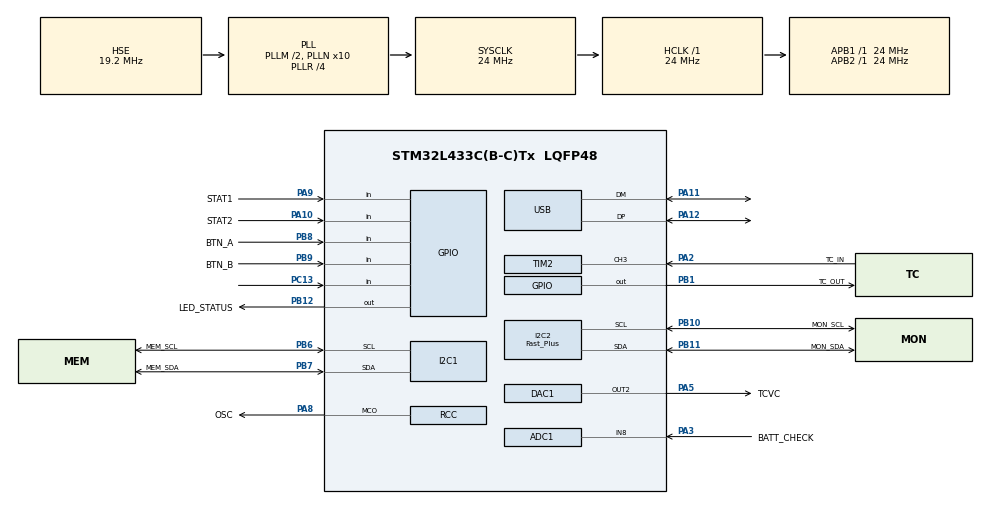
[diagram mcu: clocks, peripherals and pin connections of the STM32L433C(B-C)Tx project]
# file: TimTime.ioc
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ADC1.Channel-0\#ChannelRegularConversion=ADC_CHANNEL_8
ADC1.NbrOfConversionFlag=1
ADC1.OffsetNumber-0\#ChannelRegularConversion=ADC_OFFSET_NONE
ADC1.Rank-0\#ChannelRegularConversion=1
ADC1.SamplingTime-0\#ChannelRegularConversion=ADC_SAMPLETIME_2CYCLES_5
ADC1.master=1
DAC1.DAC_Channel-DAC_OUT2=DAC_CHANNEL_2
I2C1.Timing=0x00506682
I2C2.I2C_Speed_Mode=I2C_Fast_Plus
I2C2.Timing=0x0010030D
Mcu.Family=STM32L4
Mcu.Name=STM32L433C(B-C)Tx
Mcu.Package=LQFP48
NVIC.PriorityGroup=NVIC_PRIORITYGROUP_4
NVIC.TIM1_UP_TIM16_IRQn=true\:7\:0\:true\:false\:true\:true\:true\:true
NVIC.TIM2_IRQn=true\:2\:0\:true\:false\:true\:true\:true\:true
NVIC.TIM6_DAC_IRQn=true\:8\:0\:true\:false\:true\:true\:true\:true
NVIC.TIM7_IRQn=true\:0\:0\:false\:false\:true\:true\:true\:true
PA0.Mode=SYS_WakeUp0
PA0.Signal=SYS_WKUP1
PA10.GPIO_Label=STAT2
PA10.Signal=GPIO_Input
PA11.Mode=Device
PA11.Signal=USB_DM
PA12.Mode=Device
PA12.Signal=USB_DP
PA13\ (JTMS-SWDIO).Mode=Serial_Wire
PA13\ (JTMS-SWDIO).Signal=SYS_JTMS-SWDIO
PA14\ (JTCK-SWCLK).Mode=Serial_Wire
PA14\ (JTCK-SWCLK).Signal=SYS_JTCK-SWCLK
PA2.GPIO_Label=TC_IN
PA2.Signal=S_TIM2_CH3
PA3.GPIO_Label=BATT_CHECK
PA3.Signal=ADCx_IN8
PA5.GPIO_Label=TCVC
PA5.Signal=COMP_DAC12_group
PA8.GPIO_Label=OSC
PA8.Mode=Clock-out
PA8.Signal=RCC_MCO
PA9.GPIO_Label=STAT1
PA9.Signal=GPIO_Input
PB1.GPIO_Label=TC_OUT
PB1.Signal=GPIO_Output
PB10.GPIO_Label=MON_SCL
PB10.GPIO_Pu=GPIO_PULLUP
PB10.Mode=I2C
PB10.Signal=I2C2_SCL
PB11.GPIO_Label=MON_SDA
PB11.GPIO_Pu=GPIO_PULLUP
PB11.Mode=I2C
PB11.Signal=I2C2_SDA
PB12.GPIO_Label=LED_STATUS
PB12.Signal=GPIO_Output
PB6.GPIO_Label=MEM_SCL
PB6.GPIO_Pu=GPIO_PULLUP
PB6.Mode=I2C
PB6.Signal=I2C1_SCL
PB7.GPIO_Label=MEM_SDA
PB7.GPIO_Pu=GPIO_PULLUP
PB7.Mode=I2C
PB7.Signal=I2C1_SDA
PB8.GPIO_Label=BTN_A
PB8.Signal=GPIO_Input
PB9.GPIO_Label=BTN_B
PB9.Signal=GPIO_Input
PC13.Signal=GPIO_Input
PH0-OSC_IN\ (PH0).Mode=HSE-External-Clock-Source
PH0-OSC_IN\ (PH0).Signal=RCC_OSC_IN
ProjectManager.HeapSize=0x200
ProjectManager.StackSize=0x400
ProjectManager.TargetToolchain=STM32CubeIDE
RCC.ADCFreq_Value=48000000
RCC.AHBFreq_Value=24000000
RCC.APB1Freq_Value=24000000
RCC.APB1TimFreq_Value=24000000
RCC.APB2Freq_Value=24000000
RCC.APB2TimFreq_Value=24000000
RCC.CortexFreq_Value=24000000
RCC.HCLKFreq_Value=24000000
RCC.HSE_VALUE=19200000
RCC.HSI48_VALUE=48000000
RCC.HSI_VALUE=16000000
RCC.LSE_VALUE=32768
RCC.MSI_VALUE=4000000
RCC.PLLM=2
RCC.PLLN=10
RCC.PLLR=RCC_PLLR_DIV4
RCC.PLLSAI1N=10
RCC.PLLSourceVirtual=RCC_PLLSOURCE_HSE
RCC.SYSCLKFreq_VALUE=24000000
RCC.SYSCLKSource=RCC_SYSCLKSOURCE_PLLCLK
RCC.USBFreq_Value=48000000
RCC.VCOOutputFreq_Value=96000000
SH.ADCx_IN8.0=ADC1_IN8,IN8-Single-Ended
SH.COMP_DAC12_group.0=DAC1_OUT2,DAC_OUT2
SH.S_TIM2_CH3.0=TIM2_CH3,Input_Capture3_from_TI3
TIM16.Period=3128-1
TIM16.Prescaler=4-1
TIM2.Channel-Input_Capture3_from_TI3=TIM_CHANNEL_3
TIM2.ICPolarity_CH3=TIM_INPUTCHANNELPOLARITY_BOTHEDGE
TIM2.Prescaler=24-1
TIM6.Period=1000-1
TIM6.Prescaler=24-1
TIM7.Period=50049
TIM7.Prescaler=19
VP_TIM16_VS_ClockSourceINT.Mode=Enable_Timer
VP_TIM6_VS_ClockSourceINT.Mode=Enable_Timer
VP_TIM7_VS_ClockSourceINT.Mode=Enable_Timer
board=custom

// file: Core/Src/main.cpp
/* USER CODE BEGIN Header */
/**
  ******************************************************************************
  * @file           : main.c
  * @brief          : Main program body
  ******************************************************************************
  * @attention
  *
  * <h2><center>&copy; Copyright (c) 2021 STMicroelectronics.
  * All rights reserved.</center></h2>
  *
  * This software component is licensed by ST under BSD 3-Clause license,
  * the "License"; You may not use this file except in compliance with the
  * License. You may obtain a copy of the License at:
  *                        opensource.org/licenses/BSD-3-Clause
  *
  ******************************************************************************
  */
/* USER CODE END Header */
#include "main.h"

/* USER CODE BEGIN Includes */

#include "Global.h"
#include "Timecode.h"
#include "Menu.h"
#include "Display.h"
#include "Battery.h"
#include "Calibration.h"
#define EEPROM_ADDRESS	0xA0
/* USER CODE END Includes */

ADC_HandleTypeDef hadc1;

DAC_HandleTypeDef hdac1;

I2C_HandleTypeDef hi2c1;
I2C_HandleTypeDef hi2c2;

TIM_HandleTypeDef htim2;
TIM_HandleTypeDef htim6;
TIM_HandleTypeDef htim7;
TIM_HandleTypeDef htim16;

PCD_HandleTypeDef hpcd_USB_FS;

/* USER CODE BEGIN PV */
//void setDigit(int addr, int digit, uint8_t value, bool dp);
//void spiTransfer(int addr, volatile uint8_t opcode, volatile uint8_t data);
//void transposeData(int addr);
void shiftRight(uint8_t theArray[], uint8_t theArraySize);
void initTimecode();
void clearBuffer(uint8_t theArray[], uint8_t theArraySize);
void writeTimecode();
bool readEEPROM();
bool updateEEPROM();

//void updateDisplay(bool on);
//void calibrate();
//void JumpToBootloader(void);
//void updateDisplay(uint8_t state);

//void write_eeprom_reg(uint16_t reg_addr, uint8_t value);
//uint8_t  read_eeprom_reg(uint16_t addr);
/* USER CODE END PV */

void SystemClock_Config(void);
static void MX_GPIO_Init(void);
static void MX_ADC1_Init(void);
static void MX_DAC1_Init(void);
static void MX_I2C1_Init(void);
static void MX_I2C2_Init(void);
static void MX_TIM2_Init(void);
static void MX_TIM6_Init(void);
static void MX_TIM7_Init(void);
static void MX_TIM16_Init(void);
static void MX_USB_PCD_Init(void);

/* USER CODE BEGIN 0 */

ADC_HandleTypeDef *battADC = &hadc1;
I2C_HandleTypeDef *dispI2C = &hi2c2;
I2C_HandleTypeDef *memI2C=  &hi2c1;
TIM_HandleTypeDef *inTIM = &htim2;
TIM_HandleTypeDef *outTIM = &htim16;
TIM_HandleTypeDef *countTIM = &htim7;

//int Offset, hr, mn, sc, fr,setA,setB;
//volatile uint32_t clockFrame = 0;
uint32_t clockFrameOutput = 0;
uint8_t tc[10] = {0}; // ISR Buffer to store incoming bits
//uint32_t clockFramePrevious = 0;
volatile uint8_t jamCount = 0;

bool anodeMode = true;

const uint16_t sync = 0xBFFC; // Sync word to expect when running tape forward

enum flagBits {
  tcValid,        // TC copied to xtc is valid (Used by main loop to determing if a timecode has arrived)
  tcFrameError,   // ISR edge out of timing bounds (only gets reset after next valid TC read)
  tcOverrun,      // TC was not read from xtc by main loop before next value was ready (so main loop can tell if timecodes have been lost)
  tcForceUpdate,  // Valid TC will always be copied to buffer even if last value not read (if set by main code then TC will always be copied)
  tcHalfOne       // ISR is reading a 1 bit so ignore next edge (Internal to ISR)
};

volatile uint8_t tcFlags = 0;                             // Various flags used by ISR and main code
uint32_t uSeconds;                                        // ISR store of last edge change time

char timeCode[12];                                        // For example code another buffer to write decoded timecode
//char userBits[12];
volatile bool tcTimer = true;
volatile uint32_t edgeTimeDiff;
uint8_t tcWrite[10];
uint8_t tcWriteBuf[10];

//char tcDisplay[11];
char dispOffset[3];
//uint32_t buttonTime;

int prevOffset;

bool fullBit = false;
bool halfBit = false;
uint8_t writeState = 0x0;
int byteNumber = 0;
int bitNumber = 0;
uint8_t tcBuf;
bool endBit = false;

uint16_t batt;
uint16_t battAvg[32];
uint8_t battLoc = 0;
uint32_t battCount;
uint32_t powerCount;
uint32_t menuCount;
float battStatus;
char battDisp[5];
int battPrint;

//bool stat1;
//bool stat2;

uint8_t ledCount = 0;
volatile bool blink = false;

volatile uint16_t compensationCounter = 0;
volatile bool compensate = false;

uint8_t displayLoopCounter = 0;
uint32_t displayTimer;
uint32_t lockTimer;
bool isLocked = false;
bool displayOn = true;

bool powerOff = false;

uint8_t powerUpMode = 0;

bool calWrite = true;
bool calRead = true;
bool updateWrite = true;

//Lockit Prototype #2
//const uint32_t calibrationAInterval = 240000;
//int32_t calibrationA;
//const uint32_t calibration = 23999963;
//const uint32_t calibration = 23999979; //timtime1

//int32_t calibrationArray[6];
//calibrationArray[frameRate]

//const uint32_t calibrationInterval[6] = {240000,240000,250000,300000,300000,300000};
//calibrationInterval[frameRate]

/*
 * Lockit Prototype #1
 * const uint16_t calibrationAInterval = 24000;
 * const uint8_t calibrationBInterval = 50;
 * const uint8_t calibrationA = -860;
 * const uint8_t calibrationB = -43;
 */

/*
 * 0 = 23.976
 * 1 = 24
 * 2 = 25
 * 3 = 29.97
 * 4 = 30
 */
//uint8_t frRDv[6] = {24,24,25,30,30,30};	//Frame rate divisor array
//frRDv[frameRate]
//const uint16_t frARR[6] = {50049,49999,47999,40039,40039,39999};	//Frame rate Timer ARR
//frARR[frameRate]

//uint8_t lockCountdown = 0;
char powerDisplay;
char lockDisplay;
void mcStop();

bool upButton;
uint32_t upButtonTime;

bool downButton;
uint32_t downButtonTime;

bool menuButton;
uint32_t menuButtonTime;

uint32_t batteryCheck;
bool wakeUP;

/* USER CODE END 0 */

int main(void)
{

  /* MCU Configuration--------------------------------------------------------*/

  /* Reset of all peripherals, Initializes the Flash interface and the Systick. */
  HAL_Init();

  /* Configure the system clock */
  SystemClock_Config();

  /* Initialize all configured peripherals */
  MX_GPIO_Init();
  MX_ADC1_Init();
  MX_DAC1_Init();
  MX_I2C1_Init();
  MX_I2C2_Init();
  MX_TIM2_Init();
  MX_TIM6_Init();
  MX_TIM7_Init();
  MX_TIM16_Init();
  MX_USB_PCD_Init();
  /* USER CODE BEGIN 2 */
  DAC1->DHR12R2 = 2048; //Set analog out for TXCO VCO

  /*Configure GPIO pin : PC13 */
  GPIO_InitTypeDef GPIO_InitStruct = {0};
  GPIO_InitStruct.Pin = GPIO_PIN_0;
  GPIO_InitStruct.Mode = GPIO_MODE_INPUT;
  GPIO_InitStruct.Pull = GPIO_PULLDOWN;
  HAL_GPIO_Init(GPIOA, &GPIO_InitStruct);

/*if(GPIOA -> IDR & GPIO_PIN_9 || GPIOA -> IDR & GPIO_PIN_10){  //Stat 1 & 2
  powerUpMode = 2;
}*/
wakeUP = false;
wakeUP = __HAL_PWR_GET_FLAG(PWR_FLAG_SB);
clockFrame++;

if (!wakeUP){
  powerUpMode = 1;
  GPIOB -> ODR |= GPIO_PIN_12;    //LED
  HAL_Delay(500);
}
if(GPIOA -> IDR & GPIO_PIN_0){  //Power button
  uint32_t powerupTime = HAL_GetTick();
  while (GPIOA -> IDR & GPIO_PIN_0){
    if (HAL_GetTick() - powerupTime > 2000){
      powerUpMode = 1;
      GPIOB -> ODR |= GPIO_PIN_12;    //LED
      __HAL_PWR_CLEAR_FLAG(PWR_FLAG_SB);
    }
  }
}

else {}
//do nothing

if (powerUpMode == 0){    //Power button not held long enough
HAL_Delay(500);

    HAL_PWR_EnterSTANDBYMode();
}

else if (powerUpMode == 2){
  //Run battery charge
  //In battery charge, continuously check power button
}

else {

}

HAL_Delay(20);
calRead = readEEPROM();
HAL_Delay(10);

//
    //LED
  //HAL_Delay(1000);
 // GPIOB -> ODR &= ~GPIO_PIN_12;  //LED
  //HAL_Delay(1000);
  //GPIOB -> ODR |= GPIO_PIN_12;  //LED
 // HAL_Delay(1000);

  //GPIOA -> ODR |= GPIO_PIN_8; //Power enable
     //Input timer
  //HAL_TIM_Base_Start(&htim7);
  //HAL_TIM_Base_Start_IT(&htim16);
  //HAL_TIM_Base_Start_IT(&htim6);
  tcWrite[8] = 0b11111100;  //Sync pattern
  tcWrite[9] = 0b10111111;  //Sync pattern

initDisplay();

if (GPIOB -> IDR & GPIO_PIN_8 && GPIOB -> IDR & GPIO_PIN_9){
  //Run Calibration menu
  calibrationMenu();
  calMenu = true;
}
if (!calRead && !calMenu){
  calReadFail();
}
calibrate();
HAL_TIM_IC_Start_IT(&htim2, TIM_CHANNEL_3); //Input timer
updateDisplay(0x0);
updateDisplay(0x1);
 displayTimer = HAL_GetTick();
 batteryCheck = HAL_GetTick();
 batteryRead();
 batteryCheck = batteryCheck - 29900;
batteryRead();
  //HAL_Delay(3000);

     /* Clear the WU FLAG */
  //__HAL_PWR_CLEAR_FLAG(PWR_FLAG_WU);

  //HAL_PWR_EnableWakeUpPin(PWR_WAKEUP_PIN1);
  //HAL_PWR_EnterSTANDBYMode();

//HAL_Delay(1);
//clockFrame++;
//HAL_TIM_Base_Start_IT(&htim7);		//Start the output timer
//HAL_TIM_Base_Start_IT(&htim16);
  /* USER CODE END 2 */

  /* Infinite loop */
  /* USER CODE BEGIN WHILE */
  while (1)
  {
    //JumpToBootloader();

    /* TODO
    * Only update display every 4th cycle?
    * Run tests on optimal update range
    * Timecode output is top priority
    *
    */
if (HAL_GetTick() - batteryCheck > 30000){
  batteryCheck = HAL_GetTick();
  batteryRead();
}
   if (!isLocked && displayOn){
     if (HAL_GetTick() - displayTimer > 10000){
       isLocked = true;
       displayOn = false;
       updateDisplay(0x0);
     }
     if (displayLoopCounter == 120){
      updateDisplay(0x1);
      displayLoopCounter = 0;
    }
   }

   if (isLocked && displayOn){
     if (HAL_GetTick() - displayTimer > 5000){
       displayOn = false;
       updateDisplay(0x0);
     }
     if (displayLoopCounter == 120){
      //updateDisplay(0x3);
      updateDisplay(d_lock);
      displayLoopCounter = 0;
    }
   }
   //Add in code to turn on display with button press?

  displayLoopCounter++;
frameCheck();
	  stat1 = GPIOA -> IDR & GPIO_PIN_9;
    stat2 = GPIOA -> IDR & GPIO_PIN_10;
	    //PA4 STat2
	    //PA5 Stat1
    //if (clockFrame == 2073600) clockFrame = 0;
    clockFrameOutput = clockFrame + 1;
	    tcWrite[0] = ((clockFrameOutput % frameRateDivisor[frameRate]) % 10);
	    tcWrite[0] |= (userBits[7] << 4);

	    tcWrite[1] = (clockFrameOutput % frameRateDivisor[frameRate]) / 10;
	    tcWrite[1] |= (userBits[6] << 4);

	    tcWrite[2] = ((clockFrameOutput / frameRateDivisor[frameRate]) % 60) % 10;
	    tcWrite[2] |= (userBits[5] << 4);

	    tcWrite[3] = ((clockFrameOutput / frameRateDivisor[frameRate]) % 60) / 10;
	    tcWrite[3] |= (userBits[4] << 4);

	    tcWrite[4] = ((clockFrameOutput / (frameRateDivisor[frameRate] * 60)) % 60) % 10;
	    tcWrite[4] |= (userBits[3] << 4);

	    tcWrite[5] = ((clockFrameOutput / (frameRateDivisor[frameRate] * 60)) % 60) / 10;
	    tcWrite[5] |= (userBits[2] << 4);

	    tcWrite[6] = (clockFrameOutput / (frameRateDivisor[frameRate] * 60 * 60)) % 10;
	    tcWrite[6] |= (userBits[1] << 4);

	    tcWrite[7] = (clockFrameOutput / (frameRateDivisor[frameRate] * 60 * 60)) / 10;
	    tcWrite[7] |= (userBits[0] << 4);

	    hr = (clockFrameOutput / frameRateDivisor[frameRate]) / 3600;
		mn = ((clockFrameOutput / frameRateDivisor[frameRate]) / 60 ) % 60;
		sc = (clockFrameOutput / frameRateDivisor[frameRate]) % 60;
		fr = clockFrameOutput % frameRateDivisor[frameRate];

	    //Determining the correct one bits to ensure
      //The wave is proper
      int oneBits = 0;
	    for (int i=0; i<10; i++){
	    	for (int b=0; b<8; b++){
	    		if (bitRead(tcWrite[i],b) == 1){
	    			oneBits++;
	    		}
	    	}
	    }
	    if (oneBits % 2 > 0){
	    	((tcWrite[7]) |= (1UL << (3)));
	    } else {
	    	((tcWrite[7]) &= ~(1UL << (3)));
	    }

//button handlers
if(GPIOC -> IDR & GPIO_PIN_13){	//Menu button
//TODO Block entering menu when locked
/*displayTimer = HAL_GetTick();
	    	uint32_t menuCount = HAL_GetTick();
	    	//HAL_GPIO_TogglePin(GPIOB, GPIO_PIN_6);
	    	if (!isLocked){
	    	while (GPIOC -> IDR & GPIO_PIN_13){
	    		if (HAL_GetTick() - menuCount > 500){
	    			menuItem = 0;
	    			//inMenu = true;
	    			menuItemSelect = false;
					//menuEnter = true;
					updateDisplay(d_menu);
	    			menuLoop();
            displayTimer = HAL_GetTick();
            while (GPIOC -> IDR & GPIO_PIN_13)
              {updateDisplay(0x1);}//add in TC process?}
					//menuEnter = false;
	    		}
	    			updateDisplay(0x01);
	    	}
    }
    else {
      displayTimer = HAL_GetTick();
displayOn = true;
    }*/
    displayTimer = HAL_GetTick();
displayOn = true;
menuButton = true;
if(HAL_GetTick() - menuButtonTime > 1000 && !isLocked){
  menuItem = 0;
  menuItemSelect = false;
  updateDisplay(d_menu);
  menuLoop();
  //updateDisplay(d_userBits);
  //userBitMenu();
  updateWrite = updateEEPROM();
  displayTimer = HAL_GetTick();
  updateDisplay(0x1);
  menuButtonTime = HAL_GetTick();

}
	    }
      else {
        menuButton = false;
        menuButtonTime = HAL_GetTick();
      }

if(GPIOB -> IDR & GPIO_PIN_8){	//Up button
displayTimer = HAL_GetTick();
displayOn = true;
upButton = true;
if (HAL_GetTick() - upButtonTime > 2000){
  //User Bits
}

	    }
      else {
        upButton = false;
        upButtonTime = HAL_GetTick();
      }
if(GPIOB -> IDR & GPIO_PIN_9){	//Down button
displayTimer = HAL_GetTick();
displayOn = true;

	    }
      else{
        downButton = false;
        downButtonTime = HAL_GetTick();
      }

if(GPIOA -> IDR & GPIO_PIN_0){  //Power button
  if (!isLocked){
  updateDisplay(0x4);
  uint32_t currentTime = HAL_GetTick();
  while (GPIOA -> IDR & GPIO_PIN_0){
    powerCountdown =3 - ((HAL_GetTick() - currentTime)/1000);
    if (!powerOff){updateDisplay(0x4);}
    if (HAL_GetTick() - currentTime > 4000){
      HAL_PWR_EnableWakeUpPin(PWR_WAKEUP_PIN1);
      powerOff = true;
      updateDisplay(0x0);
       /* Clear the WU FLAG */
  //__HAL_PWR_CLEAR_FLAG(PWR_FLAG_WU);

    }
  }
}

}
if(powerOff){
    //updateDisplay(0x0);
    HAL_Delay(2000);
    __HAL_PWR_CLEAR_FLAG(PWR_FLAG_WU);
    HAL_PWR_EnterSTANDBYMode();
    powerUpMode = 0;

}

if(isLocked && GPIOB -> IDR & GPIO_PIN_9 && GPIOB -> IDR & GPIO_PIN_8){//Both
  if (!upButton && !downButton){

  }
  upButton = true;
  downButton = true;
  buttonsHeld = true;
  /*
	    	while (isLocked && GPIOB -> IDR & GPIO_PIN_9 && GPIOB -> IDR & GPIO_PIN_8){
	    		updateDisplay(0x03);
          buttonsHeld = true;
	    		lockCountdown = 3 - ((HAL_GetTick() - lockTimer)/1000);
	    		if (HAL_GetTick()-lockTimer > 3000){
	    			isLocked = false;
	    			displayTimer = HAL_GetTick();
            buttonsHeld = false;

					uptimeMinutes = 0;
          updateDisplay(0x0);
	    		}
	    	}
         buttonsHeld = false;
	    	while (!isLocked && (GPIOB -> IDR & GPIO_PIN_9 || GPIOB -> IDR & GPIO_PIN_8)){
	    		updateDisplay(0x01);
	    		displayTimer = HAL_GetTick();
	    	}*/
        lockCountdown = 3 - ((HAL_GetTick() - lockTimer)/1000);
        updateDisplay(0x03);
        if(HAL_GetTick() - upButtonTime > 3000 && HAL_GetTick() - downButtonTime > 3000){
          isLocked = false;
	    			displayTimer = HAL_GetTick();
            buttonsHeld = false;
            uptimeMinutes = 0;
          updateDisplay(0x0);
        }

}
else {
  buttonsHeld = false;
  lockTimer = HAL_GetTick();
}

    /* USER CODE END WHILE */

  }
}

void SystemClock_Config(void)
{
  RCC_OscInitTypeDef RCC_OscInitStruct = {0};
  RCC_ClkInitTypeDef RCC_ClkInitStruct = {0};
  RCC_PeriphCLKInitTypeDef PeriphClkInit = {0};

  /** Initializes the RCC Oscillators according to the specified parameters
  * in the RCC_OscInitTypeDef structure.
  */
  RCC_OscInitStruct.OscillatorType = RCC_OSCILLATORTYPE_HSE;
  RCC_OscInitStruct.HSEState = RCC_HSE_BYPASS;
  RCC_OscInitStruct.PLL.PLLState = RCC_PLL_ON;
  RCC_OscInitStruct.PLL.PLLSource = RCC_PLLSOURCE_HSE;
  RCC_OscInitStruct.PLL.PLLM = 2;
  RCC_OscInitStruct.PLL.PLLN = 10;
  RCC_OscInitStruct.PLL.PLLP = RCC_PLLP_DIV7;
  RCC_OscInitStruct.PLL.PLLQ = RCC_PLLQ_DIV2;
  RCC_OscInitStruct.PLL.PLLR = RCC_PLLR_DIV4;
  if (HAL_RCC_OscConfig(&RCC_OscInitStruct) != HAL_OK)
  {
    Error_Handler();
  }
  /** Initializes the CPU, AHB and APB buses clocks
  */
  RCC_ClkInitStruct.ClockType = RCC_CLOCKTYPE_HCLK|RCC_CLOCKTYPE_SYSCLK
                              |RCC_CLOCKTYPE_PCLK1|RCC_CLOCKTYPE_PCLK2;
  RCC_ClkInitStruct.SYSCLKSource = RCC_SYSCLKSOURCE_PLLCLK;
  RCC_ClkInitStruct.AHBCLKDivider = RCC_SYSCLK_DIV1;
  RCC_ClkInitStruct.APB1CLKDivider = RCC_HCLK_DIV1;
  RCC_ClkInitStruct.APB2CLKDivider = RCC_HCLK_DIV1;

  if (HAL_RCC_ClockConfig(&RCC_ClkInitStruct, FLASH_LATENCY_1) != HAL_OK)
  {
    Error_Handler();
  }
  PeriphClkInit.PeriphClockSelection = RCC_PERIPHCLK_I2C1|RCC_PERIPHCLK_I2C2
                              |RCC_PERIPHCLK_USB|RCC_PERIPHCLK_ADC;
  PeriphClkInit.I2c1ClockSelection = RCC_I2C1CLKSOURCE_PCLK1;
  PeriphClkInit.I2c2ClockSelection = RCC_I2C2CLKSOURCE_PCLK1;
  PeriphClkInit.AdcClockSelection = RCC_ADCCLKSOURCE_PLLSAI1;
  PeriphClkInit.UsbClockSelection = RCC_USBCLKSOURCE_PLLSAI1;
  PeriphClkInit.PLLSAI1.PLLSAI1Source = RCC_PLLSOURCE_HSE;
  PeriphClkInit.PLLSAI1.PLLSAI1M = 2;
  PeriphClkInit.PLLSAI1.PLLSAI1N = 10;
  PeriphClkInit.PLLSAI1.PLLSAI1P = RCC_PLLP_DIV7;
  PeriphClkInit.PLLSAI1.PLLSAI1Q = RCC_PLLQ_DIV2;
  PeriphClkInit.PLLSAI1.PLLSAI1R = RCC_PLLR_DIV2;
  PeriphClkInit.PLLSAI1.PLLSAI1ClockOut = RCC_PLLSAI1_48M2CLK|RCC_PLLSAI1_ADC1CLK;
  if (HAL_RCCEx_PeriphCLKConfig(&PeriphClkInit) != HAL_OK)
  {
    Error_Handler();
  }
  HAL_RCC_MCOConfig(RCC_MCO1, RCC_MCO1SOURCE_SYSCLK, RCC_MCODIV_1);
  /** Configure the main internal regulator output voltage
  */
  if (HAL_PWREx_ControlVoltageScaling(PWR_REGULATOR_VOLTAGE_SCALE1) != HAL_OK)
  {
    Error_Handler();
  }
}

static void MX_ADC1_Init(void)
{

  ADC_ChannelConfTypeDef sConfig = {0};

  /** Common config
  */
  hadc1.Instance = ADC1;
  hadc1.Init.ClockPrescaler = ADC_CLOCK_ASYNC_DIV1;
  hadc1.Init.Resolution = ADC_RESOLUTION_12B;
  hadc1.Init.DataAlign = ADC_DATAALIGN_RIGHT;
  hadc1.Init.ScanConvMode = ADC_SCAN_DISABLE;
  hadc1.Init.EOCSelection = ADC_EOC_SINGLE_CONV;
  hadc1.Init.LowPowerAutoWait = DISABLE;
  hadc1.Init.ContinuousConvMode = DISABLE;
  hadc1.Init.NbrOfConversion = 1;
  hadc1.Init.DiscontinuousConvMode = DISABLE;
  hadc1.Init.ExternalTrigConv = ADC_SOFTWARE_START;
  hadc1.Init.ExternalTrigConvEdge = ADC_EXTERNALTRIGCONVEDGE_NONE;
  hadc1.Init.DMAContinuousRequests = DISABLE;
  hadc1.Init.Overrun = ADC_OVR_DATA_PRESERVED;
  hadc1.Init.OversamplingMode = DISABLE;
  if (HAL_ADC_Init(&hadc1) != HAL_OK)
  {
    Error_Handler();
  }
  /** Configure Regular Channel
  */
  sConfig.Channel = ADC_CHANNEL_8;
  sConfig.Rank = ADC_REGULAR_RANK_1;
  sConfig.SamplingTime = ADC_SAMPLETIME_2CYCLES_5;
  sConfig.SingleDiff = ADC_SINGLE_ENDED;
  sConfig.OffsetNumber = ADC_OFFSET_NONE;
  sConfig.Offset = 0;
  if (HAL_ADC_ConfigChannel(&hadc1, &sConfig) != HAL_OK)
  {
    Error_Handler();
  }

}

static void MX_DAC1_Init(void)
{

  DAC_ChannelConfTypeDef sConfig = {0};

  /** DAC Initialization
  */
  hdac1.Instance = DAC1;
  if (HAL_DAC_Init(&hdac1) != HAL_OK)
  {
    Error_Handler();
  }
  /** DAC channel OUT2 config
  */
  sConfig.DAC_SampleAndHold = DAC_SAMPLEANDHOLD_DISABLE;
  sConfig.DAC_Trigger = DAC_TRIGGER_NONE;
  sConfig.DAC_OutputBuffer = DAC_OUTPUTBUFFER_ENABLE;
  sConfig.DAC_ConnectOnChipPeripheral = DAC_CHIPCONNECT_DISABLE;
  sConfig.DAC_UserTrimming = DAC_TRIMMING_FACTORY;
  if (HAL_DAC_ConfigChannel(&hdac1, &sConfig, DAC_CHANNEL_2) != HAL_OK)
  {
    Error_Handler();
  }

}

static void MX_I2C1_Init(void)
{

  hi2c1.Instance = I2C1;
  hi2c1.Init.Timing = 0x00506682;
  hi2c1.Init.OwnAddress1 = 0;
  hi2c1.Init.AddressingMode = I2C_ADDRESSINGMODE_7BIT;
  hi2c1.Init.DualAddressMode = I2C_DUALADDRESS_DISABLE;
  hi2c1.Init.OwnAddress2 = 0;
  hi2c1.Init.OwnAddress2Masks = I2C_OA2_NOMASK;
  hi2c1.Init.GeneralCallMode = I2C_GENERALCALL_DISABLE;
  hi2c1.Init.NoStretchMode = I2C_NOSTRETCH_DISABLE;
  if (HAL_I2C_Init(&hi2c1) != HAL_OK)
  {
    Error_Handler();
  }
  /** Configure Analogue filter
  */
  if (HAL_I2CEx_ConfigAnalogFilter(&hi2c1, I2C_ANALOGFILTER_ENABLE) != HAL_OK)
  {
    Error_Handler();
  }
  /** Configure Digital filter
  */
  if (HAL_I2CEx_ConfigDigitalFilter(&hi2c1, 0) != HAL_OK)
  {
    Error_Handler();
  }

}

static void MX_I2C2_Init(void)
{

  hi2c2.Instance = I2C2;
  hi2c2.Init.Timing = 0x0010030D;
  hi2c2.Init.OwnAddress1 = 0;
  hi2c2.Init.AddressingMode = I2C_ADDRESSINGMODE_7BIT;
  hi2c2.Init.DualAddressMode = I2C_DUALADDRESS_DISABLE;
  hi2c2.Init.OwnAddress2 = 0;
  hi2c2.Init.OwnAddress2Masks = I2C_OA2_NOMASK;
  hi2c2.Init.GeneralCallMode = I2C_GENERALCALL_DISABLE;
  hi2c2.Init.NoStretchMode = I2C_NOSTRETCH_DISABLE;
  if (HAL_I2C_Init(&hi2c2) != HAL_OK)
  {
    Error_Handler();
  }
  /** Configure Analogue filter
  */
  if (HAL_I2CEx_ConfigAnalogFilter(&hi2c2, I2C_ANALOGFILTER_ENABLE) != HAL_OK)
  {
    Error_Handler();
  }
  /** Configure Digital filter
  */
  if (HAL_I2CEx_ConfigDigitalFilter(&hi2c2, 0) != HAL_OK)
  {
    Error_Handler();
  }
  /** I2C Fast mode Plus enable
  */
  HAL_I2CEx_EnableFastModePlus(I2C_FASTMODEPLUS_I2C2);

}

static void MX_TIM2_Init(void)
{

  TIM_MasterConfigTypeDef sMasterConfig = {0};
  TIM_IC_InitTypeDef sConfigIC = {0};

  htim2.Instance = TIM2;
  htim2.Init.Prescaler = 24-1;
  htim2.Init.CounterMode = TIM_COUNTERMODE_UP;
  htim2.Init.Period = 4294967295;
  htim2.Init.ClockDivision = TIM_CLOCKDIVISION_DIV1;
  htim2.Init.AutoReloadPreload = TIM_AUTORELOAD_PRELOAD_DISABLE;
  if (HAL_TIM_IC_Init(&htim2) != HAL_OK)
  {
    Error_Handler();
  }
  sMasterConfig.MasterOutputTrigger = TIM_TRGO_RESET;
  sMasterConfig.MasterSlaveMode = TIM_MASTERSLAVEMODE_DISABLE;
  if (HAL_TIMEx_MasterConfigSynchronization(&htim2, &sMasterConfig) != HAL_OK)
  {
    Error_Handler();
  }
  sConfigIC.ICPolarity = TIM_INPUTCHANNELPOLARITY_BOTHEDGE;
  sConfigIC.ICSelection = TIM_ICSELECTION_DIRECTTI;
  sConfigIC.ICPrescaler = TIM_ICPSC_DIV1;
  sConfigIC.ICFilter = 0;
  if (HAL_TIM_IC_ConfigChannel(&htim2, &sConfigIC, TIM_CHANNEL_3) != HAL_OK)
  {
    Error_Handler();
  }

}

static void MX_TIM6_Init(void)
{

  TIM_MasterConfigTypeDef sMasterConfig = {0};

  htim6.Instance = TIM6;
  htim6.Init.Prescaler = 24-1;
  htim6.Init.CounterMode = TIM_COUNTERMODE_UP;
  htim6.Init.Period = 1000-1;
  htim6.Init.AutoReloadPreload = TIM_AUTORELOAD_PRELOAD_DISABLE;
  if (HAL_TIM_Base_Init(&htim6) != HAL_OK)
  {
    Error_Handler();
  }
  sMasterConfig.MasterOutputTrigger = TIM_TRGO_RESET;
  sMasterConfig.MasterSlaveMode = TIM_MASTERSLAVEMODE_DISABLE;
  if (HAL_TIMEx_MasterConfigSynchronization(&htim6, &sMasterConfig) != HAL_OK)
  {
    Error_Handler();
  }

}

static void MX_TIM7_Init(void)
{

  TIM_MasterConfigTypeDef sMasterConfig = {0};

  htim7.Instance = TIM7;
  htim7.Init.Prescaler = 19;
  htim7.Init.CounterMode = TIM_COUNTERMODE_UP;
  htim7.Init.Period = 50049;
  htim7.Init.AutoReloadPreload = TIM_AUTORELOAD_PRELOAD_DISABLE;
  if (HAL_TIM_Base_Init(&htim7) != HAL_OK)
  {
    Error_Handler();
  }
  sMasterConfig.MasterOutputTrigger = TIM_TRGO_RESET;
  sMasterConfig.MasterSlaveMode = TIM_MASTERSLAVEMODE_DISABLE;
  if (HAL_TIMEx_MasterConfigSynchronization(&htim7, &sMasterConfig) != HAL_OK)
  {
    Error_Handler();
  }

}

static void MX_TIM16_Init(void)
{

  htim16.Instance = TIM16;
  htim16.Init.Prescaler = 4-1;
  htim16.Init.CounterMode = TIM_COUNTERMODE_UP;
  htim16.Init.Period = 3128-1;
  htim16.Init.ClockDivision = TIM_CLOCKDIVISION_DIV1;
  htim16.Init.RepetitionCounter = 0;
  htim16.Init.AutoReloadPreload = TIM_AUTORELOAD_PRELOAD_DISABLE;
  if (HAL_TIM_Base_Init(&htim16) != HAL_OK)
  {
    Error_Handler();
  }

}

static void MX_USB_PCD_Init(void)
{

  hpcd_USB_FS.Instance = USB;
  hpcd_USB_FS.Init.dev_endpoints = 8;
  hpcd_USB_FS.Init.speed = PCD_SPEED_FULL;
  hpcd_USB_FS.Init.phy_itface = PCD_PHY_EMBEDDED;
  hpcd_USB_FS.Init.Sof_enable = DISABLE;
  hpcd_USB_FS.Init.low_power_enable = DISABLE;
  hpcd_USB_FS.Init.lpm_enable = DISABLE;
  hpcd_USB_FS.Init.battery_charging_enable = DISABLE;
  if (HAL_PCD_Init(&hpcd_USB_FS) != HAL_OK)
  {
    Error_Handler();
  }

}

static void MX_GPIO_Init(void)
{
  GPIO_InitTypeDef GPIO_InitStruct = {0};

  /* GPIO Ports Clock Enable */
  __HAL_RCC_GPIOC_CLK_ENABLE();
  __HAL_RCC_GPIOH_CLK_ENABLE();
  __HAL_RCC_GPIOA_CLK_ENABLE();
  __HAL_RCC_GPIOB_CLK_ENABLE();

  /*Configure GPIO pin Output Level */
  HAL_GPIO_WritePin(GPIOB, TC_OUT_Pin|LED_STATUS_Pin, GPIO_PIN_RESET);

  /*Configure GPIO pin : PC13 */
  GPIO_InitStruct.Pin = GPIO_PIN_13;
  GPIO_InitStruct.Mode = GPIO_MODE_INPUT;
  GPIO_InitStruct.Pull = GPIO_NOPULL;
  HAL_GPIO_Init(GPIOC, &GPIO_InitStruct);

  /*Configure GPIO pins : TC_OUT_Pin LED_STATUS_Pin */
  GPIO_InitStruct.Pin = TC_OUT_Pin|LED_STATUS_Pin;
  GPIO_InitStruct.Mode = GPIO_MODE_OUTPUT_PP;
  GPIO_InitStruct.Pull = GPIO_NOPULL;
  GPIO_InitStruct.Speed = GPIO_SPEED_FREQ_LOW;
  HAL_GPIO_Init(GPIOB, &GPIO_InitStruct);

  /*Configure GPIO pin : OSC_Pin */
  GPIO_InitStruct.Pin = OSC_Pin;
  GPIO_InitStruct.Mode = GPIO_MODE_AF_PP;
  GPIO_InitStruct.Pull = GPIO_NOPULL;
  GPIO_InitStruct.Speed = GPIO_SPEED_FREQ_LOW;
  GPIO_InitStruct.Alternate = GPIO_AF0_MCO;
  HAL_GPIO_Init(OSC_GPIO_Port, &GPIO_InitStruct);

  /*Configure GPIO pins : STAT1_Pin STAT2_Pin */
  GPIO_InitStruct.Pin = STAT1_Pin|STAT2_Pin;
  GPIO_InitStruct.Mode = GPIO_MODE_INPUT;
  GPIO_InitStruct.Pull = GPIO_NOPULL;
  HAL_GPIO_Init(GPIOA, &GPIO_InitStruct);

  /*Configure GPIO pins : BTN_A_Pin BTN_B_Pin */
  GPIO_InitStruct.Pin = BTN_A_Pin|BTN_B_Pin;
  GPIO_InitStruct.Mode = GPIO_MODE_INPUT;
  GPIO_InitStruct.Pull = GPIO_NOPULL;
  HAL_GPIO_Init(GPIOB, &GPIO_InitStruct);

}

/* USER CODE BEGIN 4 */
/*void calibrate(){ //Find notes on how this works
	calibrationA = 1201200000 - (int32_t(	(double(calibration)/20.0) * 1001));
	calibrationArray[0] = 1201200000 - (int32_t(	(double(calibration)/20.0) * 1001));
	calibrationArray[1] = 1200000000 - (int32_t(	(double(calibration)/20.0) * 1000));
	calibrationArray[2] = 1200000000 - (int32_t(	(double(calibration)/20.0) * 1000));
	calibrationArray[3] = 1201200000 - (int32_t(	(double(calibration)/20.0) * 1001));
	calibrationArray[4] = 1200000000 - (int32_t(	(double(calibration)/20.0) * 1000));
}*/

void mcStop(){
  GPIO_InitTypeDef GPIO_InitStruct = {0};
  // GPIO Ports Clock Enable
//__HAL_RCC_GPIOA_CLK_ENABLE();

//Configure GPIO pin : PA10
GPIO_InitStruct.Pin = GPIO_PIN_10;
GPIO_InitStruct.Mode = GPIO_MODE_IT_RISING_FALLING;
GPIO_InitStruct.Pull = GPIO_NOPULL;
HAL_GPIO_Init(GPIOA, &GPIO_InitStruct);

//Configure GPIO pin : PA9
GPIO_InitStruct = {0};
GPIO_InitStruct.Pin = GPIO_PIN_9;
GPIO_InitStruct.Mode = GPIO_MODE_IT_RISING_FALLING;
GPIO_InitStruct.Pull = GPIO_NOPULL;
HAL_GPIO_Init(GPIOA, &GPIO_InitStruct);

//Configure GPIO pin : PA0
GPIO_InitStruct = {0};
GPIO_InitStruct.Pin = GPIO_PIN_0;
GPIO_InitStruct.Mode = GPIO_MODE_IT_RISING;
GPIO_InitStruct.Pull = GPIO_PULLDOWN;
HAL_GPIO_Init(GPIOA, &GPIO_InitStruct);

HAL_NVIC_SetPriority(EXTI9_5_IRQn, 3, 0);
HAL_NVIC_SetPriority(EXTI0_IRQn, 3, 0);
HAL_NVIC_SetPriority(EXTI15_10_IRQn, 3, 0);
 HAL_NVIC_EnableIRQ(EXTI9_5_IRQn);
 HAL_NVIC_EnableIRQ(EXTI0_IRQn);
 HAL_NVIC_EnableIRQ(EXTI15_10_IRQn);

HAL_SuspendTick();

HAL_PWR_EnterSTOPMode(PWR_LOWPOWERREGULATOR_ON, PWR_STOPENTRY_WFI);
//HAL_ResumeTick();
//SystemClock_Config();
//HAL_ResumeTick();
//MX_GPIO_Init();
//HAL_NVIC_SystemReset();
}

/*void HAL_GPIO_EXTI_Callback(uint16_t GPIO_Pin)
{
  powerOff = false;
  HAL_PWR_EnterSTANDBYMode();
    SystemClock_Config ();
	  HAL_ResumeTick();
    //HAL_NVIC_SystemReset();
    MX_GPIO_Init();
    __HAL_PWR_CLEAR_FLAG(PWR_FLAG_WU);
    //updateDisplay(0x1);
    //powerCountdown = 10;
    HAL_NVIC_SystemReset();

}*/

void HAL_TIM_IC_CaptureCallback(TIM_HandleTypeDef *htim)
{
    //if ( GPIO_Pin == GPIO_PIN_8)
	if (htim->Instance == TIM2)
    {
//Offset++;
		__disable_irq();
/*
    Credit for this loop to read out the timecode:
    https://forum.arduino.cc/t/smpte-jam-sync/529740/4
*/
    	edgeTimeDiff = __HAL_TIM_GetCounter(htim);          // Get time difference between this and last edge

    	__HAL_TIM_SetCounter(htim,0);
    	                                    // Store time of this edge

    	  if ((edgeTimeDiff < uMin1) or (edgeTimeDiff > uMax0)) { // Drop out now if edge time not withing bounds
    	    bitSet(tcFlags, tcFrameError);
    	    jamCount = 0;
    	    __enable_irq();
    	    //Offset++;
    	    return;
    	  }

    	  if (edgeTimeDiff > uMax1)                               // A zero bit arrived
    	  {
    	    if (bitRead(tcFlags, tcHalfOne) == 1){                // But we are expecting a 1 edge
    	      bitClear(tcFlags, tcHalfOne);
    	      clearBuffer(tc, sizeof(tc)); //TODO WHAT DOES?
    	      __enable_irq();
    	      return;
    	    }
    	    // 0 bit
    	    shiftRight(tc, sizeof(tc));                           // Rotate buffer right
    	    // Shift replaces top bit with zero so nothing else to do
    	    //bitClear(tc[0], 7);                                   // Reset the 1 bit in the buffer
    	  }
    	  else                                                    // Not zero so must be a 1 bit
    	  { // 1 bit
    	    if (bitRead(tcFlags, tcHalfOne) == 0){                // First edge of a 1 bit
    	      bitSet(tcFlags, tcHalfOne);                         // Flag we have the first half
    	      __enable_irq();
    	      return;
    	    }
    	    // Second edge of a 1 bit
    	    bitClear(tcFlags, tcHalfOne);                         // Clear half 1 flag
    	    shiftRight(tc, sizeof(tc));                           // Rotate buffer right
    	    bitSet(tc[0], 7);                                     // Set the 1 bit in the buffer
    	  }
    	  // Congratulations, we have managed to read a valid 0 or 1 bit into buffer
    	  if (uint16_t( (tc[0] << 8) | (tc[1] & 0xff) ) == sync){                        // Last 2 bytes read = sync?
    	    bitClear(tcFlags, tcFrameError);                      // Clear framing error
    	    bitClear(tcFlags, tcOverrun);                         // Clear overrun error
    	    if (bitRead(tcFlags, tcForceUpdate) == 1){
    	      bitClear(tcFlags, tcValid);                         // Signal last TC read
    	    }
    	    if (bitRead(tcFlags, tcValid) == 1){                  // Last TC not read
    	      bitSet(tcFlags, tcOverrun);                         // Flag overrun error
    	     // __enable_irq();
    	     // return;                                             // Do nothing else
    	    }
    	    //if (jamEnable){
    	    	for (uint8_t x = 0; x < sizeof(tcIN); x++){            // Copy buffer without sync word
    	    		tcIN[x] = tc[x + 2];
    	    	}
    	    //}
    	    bitSet(tcFlags, tcValid);                             // Signal valid TC
    	    jamCount++;
    	    if (jamCount > 23){
    	    	//jamEnable = false;
    	    	jamCount = 0;
    	    	tcJammed = true;
initTimecode();
    	    	//HAL_TIM_Base_Stop_IT(&htim16);
    	    //endBit = false;
    	    //bitNumber = 0;
    	    //byteNumber = 0;
    	    //writeState = 0x00;
			//__HAL_TIM_SetCounter(&htim16,1500);
    	    //HAL_TIM_Base_Start_IT(&htim16);

    	    	//HAL_TIM_IC_Stop_IT(&htim2, TIM_CHANNEL_3);
    	    }
    	    __enable_irq();

    	    //uSeconds = 260;
    	    //if (tcTimer) {
    	    		//tcTimer = false;
    	    //initTimecode();
    	    		//HAL_TIM_Base_Start_IT(&htim2);
    	    //}
    	  }

    }
	__enable_irq();
}

void clearBuffer(uint8_t theArray[], uint8_t theArraySize){
  for (uint8_t x = 0; x < theArraySize - 1; x++){
    theArray[x] = 0;
  }
}

void shiftRight(uint8_t theArray[], uint8_t theArraySize){
  uint8_t x;
  for (x = theArraySize; x > 0; x--){
    uint8_t xBit = bitRead(theArray[x - 1], 0);
    theArray[x] = theArray[x] >> 1;
    theArray[x] = theArray[x] | (xBit << 7);
  }
  theArray[x] = theArray[x] >> 1;
}

void HAL_TIM_PeriodElapsedCallback(TIM_HandleTypeDef *htim)
{
	/*if (htim == &htim6){
		if (( (GPIOB->ODR >> 12) & 0x01) == 1){
			  (GPIOB->ODR) &= ~(1UL << (12));
		  } else {
			  if (ledCount > 10){
				  (GPIOB->ODR) |= (1UL << (12));
				  ledCount = 0;
			  }
		  }
		ledCount++;
	}*/
  // Check which version of the timer triggered this callback and toggle LED
  if (htim == &htim16 )
  {
	  switch (writeState){
	  case 0x00:

		  if (( (GPIOB->ODR >> 1) & 0x01) == 1){
			  (GPIOB->ODR) &= ~(1UL << (1));
		  } else {
			  (GPIOB->ODR) |= (1UL << (1));
		  }

		  if (((tcWriteBuf[byteNumber] >> bitNumber) & 0x01) == 1){
			  writeState = 0x01;
		  } else {
			  writeState = 0x02;
		  }
		  bitNumber++;
		  if (bitNumber == 8){
			  bitNumber = 0;
			  byteNumber++;
			  if (byteNumber == 10){
				  byteNumber = 0;

				  for (int i=0; i<10; i++){
			  tcWriteBuf[i] = tcWrite[i];
		  }
			  }
		  }
		  break;

	  case 0x01:
		  if (( (GPIOB->ODR >> 1) & 0x01) == 1){
			  (GPIOB->ODR) &= ~(1UL << (1));
		  } else {
			  (GPIOB->ODR) |= (1UL << (1));
		  }
		  writeState = 0x00;
		  break;
	  case 0x02:
		  writeState = 0x00;
		  break;
	  case 0x03:
		  writeState = 0x04;
		  break;
	  case 0x04:
		  writeState = 0x01;
		  break;
	  case 0x05:
		  writeState = 0x06;

		  break;
	  case 0x06:
		  writeState = 0x07;
		  if (( (GPIOB->ODR >> 1) & 0x01) == 1){
			  (GPIOB->ODR) &= ~(1UL << (1));
		  } else {
			  (GPIOB->ODR) |= (1UL << (1));
		  }
		  break;
	  case 0x07:
		  writeState = 0x01;
		  break;
	  }

  }
  if (htim == &htim7){  //Triggers once per frame
	  __disable_irq();
	  clockFrame++;
	  if (compensate){    //If coming back from compensation
		  //reset to proper ARR
		  __HAL_TIM_SET_AUTORELOAD(&htim7,frameRateARR[frameRate]);
		  //TIM7->ARR = 50049;
		  compensate = false;
		  compensationCounter = 0;
	  }
    //If it's time to compensate
	  if (compensationCounter == calibrationInterval[frameRate]){
		  __HAL_TIM_SET_AUTORELOAD(&htim7, (frameRateARR[frameRate] + calibrationArray[frameRate]));
		  compensate = true;

	  }
compensationCounter++;

    if (clockFrame % frameRateDivisor[frameRate] == 0){
		  (GPIOB->ODR) |= (1UL << (12));
	  } else {
			  (GPIOB->ODR) &= ~(1UL << (12));
	  }

	  __enable_irq();
  }
}

/*
void updateDisplay(uint8_t state){
	switch (state)
	{
	case 0x0:	//Blank
		ssd1306_Fill(Black);
		ssd1306_UpdateScreen(&hi2c2);
		break;
	case 0x01:	//Standard
		tcDisplay[0] = foo[hr / 10];
			    tcDisplay[1] = foo[hr % 10];
			    tcDisplay[2] = ':';
			    tcDisplay[3] = foo[mn / 10];
			    tcDisplay[4] = foo[mn % 10];
			    tcDisplay[5] = ':';
			    tcDisplay[6] = foo[sc / 10];
			    tcDisplay[7] = foo[sc % 10];
			    tcDisplay[8] = ':';
			    tcDisplay[9] = foo[fr / 10];
			    tcDisplay[10] = foo[fr % 10];
			    if (Offset < 0){
			   dispOffset[0] = '-';
		   } else {
			   dispOffset[0] = '+';
		   }
		   if (Offset < 0){
			   dispOffset[1] = foo[(Offset * -1)/10];
			   dispOffset[2] = foo[(Offset * -1)%10];
		   } else {
			   dispOffset[1] = foo[Offset/10];
			   dispOffset[2] = foo[Offset%10];
		   }
	//ssd1306_SetCursor(44, 20);
		      //ssd1306_WriteString("Offset", Font_7x10, White);
		      //ssd1306_SetCursor(48,32);
		      //ssd1306_WriteString(dispOffset, Font_11x18, White);
		      //ssd1306_SetCursor(4,32);
		      //ssd1306_WriteString("<", Font_11x18, White);
		      //ssd1306_SetCursor(116,32);
		      //ssd1306_WriteString(">", Font_11x18, White);

		      ssd1306_SetCursor(4,24);
		      ssd1306_WriteString(tcDisplay,Font_11x18,White);

		      ssd1306_SetCursor(4,6);
		      ssd1306_WriteString("23.98",Font_7x10,White);

		      ssd1306_SetCursor(92,52);
		      ssd1306_WriteString("Menu",Font_7x10,White);

		      ssd1306_DrawBattery(battStatus);
		      ssd1306_SetCursor(34,52);
		      battPrint = int(battStatus * 100.0);
		      if (battPrint == 100){
		    	  battDisp[0] = '1';
		    	  battDisp[1] = '0';
		    	  battDisp[2] = '0';
		    	  battDisp[3] = '%';
		      }else {
		    	  battDisp[0] = ' ';
		    	  battDisp[1] = foo[battPrint / 10];
		    	  battDisp[2] = foo[battPrint % 10];
		    	  if (!stat1 && stat2) battDisp[3] = '^';
		    	  else if (stat1 && !stat2) battDisp[3] = '!';
		    	  else battDisp[3] = '%';
		      }
		      battDisp[4] = ' ';
		      ssd1306_WriteString(battDisp,Font_7x10,White);
		      ssd1306_UpdateScreen(&hi2c2);
		break;
	case 0x02:	//Locked, button bumped
		tcDisplay[0] = foo[hr / 10];
			    tcDisplay[1] = foo[hr % 10];
			    tcDisplay[2] = ':';
			    tcDisplay[3] = foo[mn / 10];
			    tcDisplay[4] = foo[mn % 10];
			    tcDisplay[5] = ':';
			    tcDisplay[6] = foo[sc / 10];
			    tcDisplay[7] = foo[sc % 10];
			    tcDisplay[8] = ':';
			    tcDisplay[9] = foo[fr / 10];
			    tcDisplay[10] = foo[fr % 10];
		ssd1306_Fill(Black);
		ssd1306_SetCursor(44,20);
		ssd1306_WriteString("Locked", Font_7x10, White);
		ssd1306_SetCursor(24,30);
		ssd1306_WriteString("Hold < and >", Font_7x10, White);

		 ssd1306_SetCursor(34,40);
		ssd1306_WriteString("to unlock", Font_7x10, White);
		ssd1306_SetCursor(2,6);
		      ssd1306_WriteString(tcDisplay,Font_7x10,White);

		      ssd1306_SetCursor(90,6);
		      ssd1306_WriteString("23.98",Font_7x10,White);

		      ssd1306_DrawBattery(battStatus);
		      ssd1306_SetCursor(34,52);
		      battPrint = int(battStatus * 100.0);
		      if (battPrint == 100){
		    	  battDisp[0] = '1';
		    	  battDisp[1] = '0';
		    	  battDisp[2] = '0';
		    	  battDisp[3] = '%';
		      }else {
		    	  battDisp[0] = ' ';
		    	  battDisp[1] = foo[battPrint / 10];
		    	  battDisp[2] = foo[battPrint % 10];
		    	  if (!stat1 && stat2) battDisp[3] = '^';
		    	  else if (stat1 && !stat2) battDisp[3] = '!';
		    	  else battDisp[3] = '%';
		      }
		      battDisp[4] = ' ';
		      ssd1306_WriteString(battDisp,Font_7x10,White);
		ssd1306_UpdateScreen(&hi2c2);
		break;
	case 0x03:	//Locked, button held
		tcDisplay[0] = foo[hr / 10];
			    tcDisplay[1] = foo[hr % 10];
			    tcDisplay[2] = ':';
			    tcDisplay[3] = foo[mn / 10];
			    tcDisplay[4] = foo[mn % 10];
			    tcDisplay[5] = ':';
			    tcDisplay[6] = foo[sc / 10];
			    tcDisplay[7] = foo[sc % 10];
			    tcDisplay[8] = ':';
			    tcDisplay[9] = foo[fr / 10];
			    tcDisplay[10] = foo[fr % 10];
		ssd1306_Fill(Black);
		ssd1306_SetCursor(44,20);
		ssd1306_WriteString("Locked", Font_7x10, White);
		ssd1306_SetCursor(60,32);
		//lockDisplay = foo[lockCountdown];
		ssd1306_WriteChar(lockDisplay, Font_7x10, White);
		ssd1306_SetCursor(2,6);
		      ssd1306_WriteString(tcDisplay,Font_7x10,White);

		      ssd1306_SetCursor(90,6);
		      ssd1306_WriteString("23.98",Font_7x10,White);
		      ssd1306_DrawBattery(battStatus);
		      ssd1306_SetCursor(34,52);
		      battPrint = int(battStatus * 100.0);
		      if (battPrint == 100){
		    	  battDisp[0] = '1';
		    	  battDisp[1] = '0';
		    	  battDisp[2] = '0';
		    	  battDisp[3] = '%';
		      }else {
		    	  battDisp[0] = ' ';
		    	  battDisp[1] = foo[battPrint / 10];
		    	  battDisp[2] = foo[battPrint % 10];
		    	  if (!stat1 && stat2) battDisp[3] = '^';
		    	  else if (stat1 && !stat2) battDisp[3] = '!';
		    	  else battDisp[3] = '%';
		      }
		      battDisp[4] = ' ';
		      ssd1306_WriteString(battDisp,Font_7x10,White);
		ssd1306_UpdateScreen(&hi2c2);
		break;
	case 0x04:	//Power off
		ssd1306_Fill(Black);
		ssd1306_SetCursor(14,10);
		ssd1306_WriteString("Power Off", Font_11x18, White);
		ssd1306_SetCursor(60,36);
		//powerDisplay = foo[powerCountdown];
		ssd1306_WriteChar(powerDisplay, Font_11x18, White);
		ssd1306_UpdateScreen(&hi2c2);
		break;
	case 0x05:	//Menu
		ssd1306_Fill(Black);
		//Frame rate
		//Auto power off
		//Exit
		ssd1306_SetCursor(50,2);
		ssd1306_WriteString("Menu", Font_7x10, White);
		ssd1306_SetCursor(10,14);
		ssd1306_WriteString("Rate: ",Font_7x10, White);
		ssd1306_SetCursor(10,24);
		ssd1306_WriteString("Auto-Off: ",Font_7x10, White);
		ssd1306_SetCursor(50,50);
		ssd1306_WriteString("Exit",Font_7x10, White);

		ssd1306_SetCursor(50,14);
		switch (frameRate){
		case 0:
			ssd1306_WriteString("23.98",Font_7x10, White);
			break;
		case 1:
			ssd1306_WriteString("24",Font_7x10, White);
			break;
		case 2:
			ssd1306_WriteString("25",Font_7x10, White);
			break;
		case 3:
			ssd1306_WriteString("29.97",Font_7x10, White);
			break;
		case 4:
			ssd1306_WriteString("29.97 DF",Font_7x10, White);
			break;
		case 5:
			ssd1306_WriteString("30",Font_7x10, White);
			break;
		}
		ssd1306_SetCursor(75,24);
		switch (autoOff){
		case 0:
			ssd1306_WriteString("1 hr",Font_7x10, White);
			break;
		case 1:
			ssd1306_WriteString("2 hr",Font_7x10, White);
			break;
		case 2:
			ssd1306_WriteString("4 hr",Font_7x10, White);
			break;
		case 3:
			ssd1306_WriteString("8 hr",Font_7x10, White);
			break;
		case 4:
			ssd1306_WriteString("12 hr",Font_7x10, White);
			break;
		}

			switch (menuItem){
			case 0:
				if (menuItemSelect){
					ssd1306_SetCursor(120,14);
					ssd1306_WriteString("<",Font_7x10, White);
				}else {
					ssd1306_SetCursor(2,14);
					ssd1306_WriteString(">",Font_7x10, White);
				}
				break;
			case 1:
				if (menuItemSelect){
					ssd1306_SetCursor(120,24);
					ssd1306_WriteString("<",Font_7x10, White);
				} else {
					ssd1306_SetCursor(2,24);
					ssd1306_WriteString(">",Font_7x10, White);
				}

				break;
			case 2:
				ssd1306_SetCursor(40,50);
				ssd1306_WriteString(">",Font_7x10, White);
				ssd1306_SetCursor(79,50);
				ssd1306_WriteString("<",Font_7x10, White);
				break;
			}

		ssd1306_UpdateScreen(&hi2c2);

		break;
	}
}
*/
uint8_t  read_eeprom_reg(uint16_t addr)
{
        uint8_t buffer[] = {addr};
        uint8_t value;
        while (HAL_I2C_GetState(&hi2c1) != HAL_I2C_STATE_READY)
        {
        }
        while (HAL_I2C_IsDeviceReady(&hi2c1, (uint16_t)(0x50<<1), 3, 100) != HAL_OK) { }
        while (HAL_I2C_Master_Transmit(&hi2c1,                // i2c handle
                                      (uint16_t)(0x50<<1),    // i2c address, left aligned
                                      (uint8_t *)&buffer,    // data to send
                                      2,                    // how many bytes - 16 bit register address = 2 bytes
                                      100)                    // timeout
                                      != HAL_OK)            // result code
        {
            if (HAL_I2C_GetError(&hi2c1) != HAL_I2C_ERROR_AF)
            {
                Error_Handler();
            }
        }
        while (HAL_I2C_IsDeviceReady(&hi2c1, (uint16_t)(0x50<<1), 3, 100) != HAL_OK) {}
        while (HAL_I2C_Master_Receive(&hi2c1,            // i2c handle
                                     (uint16_t)(0x50<<1),    // i2c address, left aligned
                                     (uint8_t *)&value,        // pointer to address of where to store received data
                                     1,                        // expecting one byte to be returned
                                     100)                    // timeout
                                     != HAL_OK)                // result code
        {
            if (HAL_I2C_GetError (&hi2c1) != HAL_I2C_ERROR_AF)
            {
                Error_Handler();
            }
        }
return value;
}

void write_eeprom_reg(uint16_t reg_addr, uint8_t value)
{
    uint8_t d[3];
    d[0] = (reg_addr >> 8) & 0xFF;                        // high byte of 16-bit register address
    d[1] = (reg_addr) & 0xFF;                            // low byte of 16-bit register address
    d[2] = value;                                        // what value are we writing to the register
    while (HAL_I2C_IsDeviceReady(&hi2c1, (uint16_t)(0x50<<1), 3, 100) != HAL_OK) {}
    if (HAL_I2C_Master_Transmit(&hi2c1,                    // i2c handle
                               (uint16_t)(0x50<<1),     // i2c address, left aligned
                               (uint8_t *)d,             // pointer to the buffer containing the data
                               sizeof(d),                 // how many bytes are we transmitting
                               1000)                    // timeout value
                               != HAL_OK)                // result code
    {
        Error_Handler();
    } else {
    }
}
bool readEEPROM(){
  bool calibrationReadOK = true;
  uint8_t readCal[4];
  uint8_t rateAutoOffRead;
  /*if(HAL_I2C_Mem_Read(memI2C, 0x50<<1, 0x0001, 1, &frameRate, 1, 1000)!= HAL_OK)	//offset
{
	//memOffset = 24;

}*/
HAL_Delay(20);
if(HAL_I2C_Mem_Read(memI2C, 0x50<<1, 0x0002, 1, &intOffset, 1, 1000)!= HAL_OK)	//frame rate
{
	//frameRate = 0;

}
if(HAL_I2C_Mem_Read(memI2C, 0x50<<1, 0x0001, 1, &rateAutoOffRead, 1, 1000)!= HAL_OK)	//frame rate
{
	//frameRate = 0;

}
HAL_Delay(20);
/*if(HAL_I2C_Mem_Read(memI2C, 0x50<<1, 0x0003, 1, &autoOff, 1, 1000)!= HAL_OK)	//auto off
{
	//autoOff = 0;

}
HAL_Delay(20);*/
frameRate = rateAutoOffRead & 0x0F;
autoOff = (rateAutoOffRead & 0xF0) >> 4;
for (int i=0; i<4; i++){
if(HAL_I2C_Mem_Read(memI2C, 0x50<<1, 0x0003+i, 1, &readCal[i], 1, 1000)!= HAL_OK)	//auto off
{
	calibrationReadOK = false;
  break;
}
HAL_Delay(10);
}

if (calibrationReadOK){
calibration = (readCal[0]) | (readCal[1] << 8) | (readCal[2] << 16) | (readCal[3] << 24);
if (calibration < 23000000 || calibration > 25000000){
  calibrationReadOK = false;
  calibration = 24000000;
}
}

return calibrationReadOK;
}
bool updateEEPROM(){
bool writeOK = true;
uint8_t rateAutoOffWrite;
rateAutoOffWrite = (autoOff << 4) + (frameRate);
  //Frame rate
  //Offset
  //Timeout
  //User bits

  //Calibration
  HAL_Delay(10);
	/*if(HAL_I2C_Mem_Write(memI2C , 0x50<<1, 0x0001, 1, &frameRate, 1,1000)!= HAL_OK)	//offset
				{
						  writeOK = false;
				}
				  HAL_Delay(10);*/
          if(HAL_I2C_Mem_Write(memI2C , 0x50<<1, 0x0001, 1, &rateAutoOffWrite, 1,1000)!= HAL_OK)	//offset
				{
						  writeOK = false;
				}
				  HAL_Delay(10);

				  if(HAL_I2C_Mem_Write(memI2C , 0x50<<1, 0x0002, 1, &intOffset, 1,250)!= HAL_OK)	//framerate
					  {
						  writeOK = false;
					  }
				  HAL_Delay(10);

				  /*if(HAL_I2C_Mem_Write(memI2C , 0x50<<1, 0x0003, 1, &autoOff, 1,250)!= HAL_OK)	//autooff
					  {
						  writeOK = false;
					  }
				  HAL_Delay(10);*/
return writeOK;

}

/* USER CODE END 4 */

void Error_Handler(void)
{
  __disable_irq();
  while (1)
  {
  }
}

/************************ (C) COPYRIGHT STMicroelectronics *****END OF FILE****/
